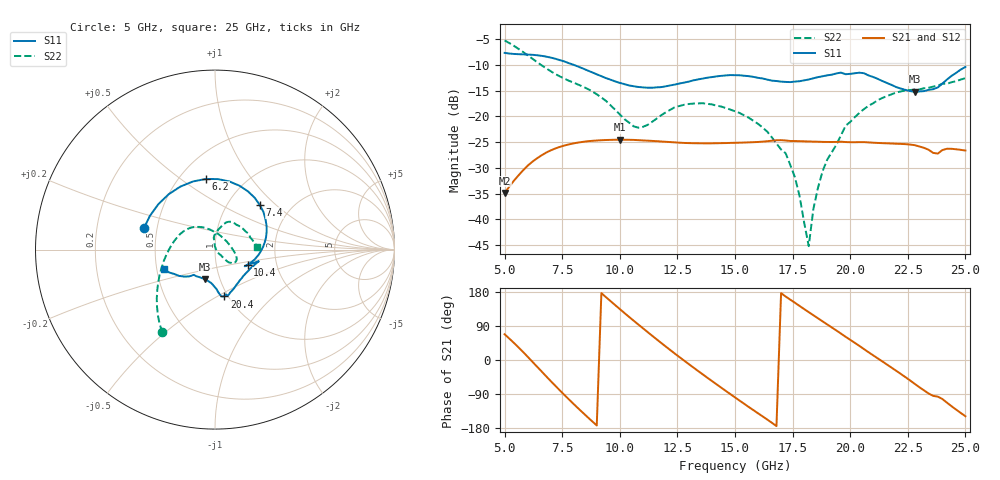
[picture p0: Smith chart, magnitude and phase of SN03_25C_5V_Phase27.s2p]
!File name = SN03_25C_5V_Phase27.s2p
!Date = 2/3/2014
!Time = 2:36 PM
!Test duration(min) = 0.07
!Test = SPars
!MPTS version = 7.120.8
!Comments =
!set_LD1(binary) = 27
!set_LD2(binary) = 524260
!test = SPars
!date_code = 20140203
!file_name = SN03_25C_5V_Phase27.s2p
!VREF(V) = 5.000
!VREF(mA) = 0.002
# GHz  S  DB  R  50
!%	Freq(GHz)  S11(dB)  S11(deg)  S21(dB)  S21(deg)  S12(dB)  S12(deg)  S22(dB)  S22(deg)
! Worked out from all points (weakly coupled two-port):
!   101 points, 5 GHz to 25 GHz, reference 50 ohm
!   highest |S21| = -24.51 dB at 10 GHz (marker M1); lowest = -34.9 dB at 5 GHz (marker M2)
!   lowest |S11| = -15.2 dB at 22.8 GHz (marker M3), VSWR 1.42, Z = 42.3 - j14.3 ohm
!   |S11| at or under -10 dB: 8.01 GHz to end of sweep
!   |S22| runs from -45.2 to -5.2 dB; largest |S21 - S12| = 0.00026
!   S11 on the Smith chart (normalised r, x): 5 GHz: 0.42, +0.12; 6.2 GHz: 0.67, +0.62; 7.4 GHz: 1.40, +0.79; 10.4 GHz: 1.42, -0.25; 20.4 GHz: 0.96, -0.54; 25 GHz: 0.55, -0.13
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5  -7.66 163.4  -34.86 68.0  -34.88 68.1  -5.24 -122.5
6.2  -8.03 97.5  -28.81 -4.2  -28.82 -4.2  -8.77 -150.2
7.4  -9.07 44.9  -25.91 -80.3  -25.93 -80.2  -12.23 174.6
8.4  -10.69 13.4  -24.93 -139.3  -24.95 -139.2  -14.20 144.9
10  -13.48 -20.2  -24.51 134.4  -24.54 134.6  -19.61 96.8
10.4  -13.98 -24.9  -24.53 113.9  -24.55 114.0  -21.19 75.3
11  -14.36 -28.6  -24.65 83.9  -24.66 83.9  -22.02 35.0
11.8  -14.30 -28.0  -24.86 44.8  -24.87 44.8  -19.75 -2.9
13.2  -12.99 -19.7  -25.19 -20.1  -25.18 -20.2  -17.50 -26.0
15  -11.98 -15.0  -25.12 -98.7  -25.11 -98.8  -19.00 -40.8
16.2  -12.63 -22.6  -24.89 -148.8  -24.90 -148.8  -22.16 -44.2
17.2  -13.29 -38.8  -24.67 167.5  -24.68 167.5  -27.16 -43.7
17.6  -13.23 -46.6  -24.77 151.1  -24.79 151.1  -31.80 -46.1
18.2  -12.83 -58.0  -24.86 126.3  -24.87 126.4  -45.19 45.6
18.4  -12.59 -61.2  -24.89 118.2  -24.90 118.2  -38.02 81.5
19  -12.02 -69.0  -24.95 94.0  -24.96 94.0  -28.40 96.4
19.8  -11.80 -76.5  -24.97 61.2  -24.98 61.3  -21.80 92.3
20.4  -11.50 -78.5  -24.98 37.1  -25.00 37.2  -19.30 81.8
21.8  -13.88 -92.0  -25.26 -20.3  -25.28 -20.3  -15.70 67.6
22.8  -15.21 -109.5  -25.57 -62.9  -25.60 -62.8  -14.77 52.7
23.8  -14.37 -131.2  -27.21 -96.6  -27.23 -96.5  -14.04 30.3
25  -10.39 -159.1  -26.61 -148.4  -26.62 -148.4  -12.57 3.6
